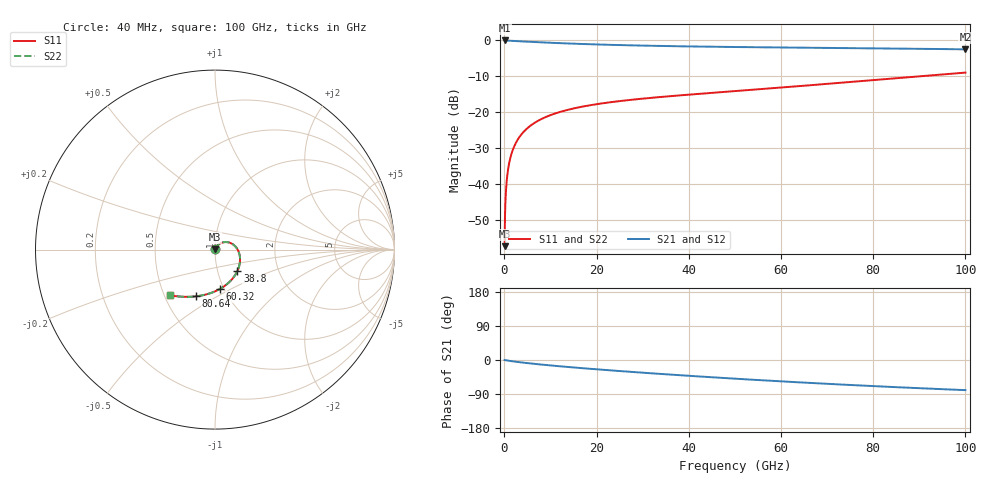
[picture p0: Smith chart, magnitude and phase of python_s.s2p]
! Created with skrf (http://scikit-rf.org).
# Hz S MA R 50.0
!freq magS11 angS11 magS21 angS21 magS12 angS12 magS22 angS22
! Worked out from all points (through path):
!   2500 points, 40 MHz to 100 GHz, reference 50 ohm
!   highest |S21| = 0.00 dB at 40 MHz (marker M1); lowest = -2.5 dB at 100 GHz (marker M2)
!   group delay of S21, straight-line fit = 2.09 ps
!   lowest |S11| = -57.4 dB at 40 MHz (marker M3), VSWR 1.00, Z = 50 + j0.129 ohm
!   |S11| at or under -10 dB: start of sweep to 90.12 GHz
!   |S22| runs from -57.4 to -9.0 dB; largest |S21 - S12| = 0
!   S11 on the Smith chart (normalised r, x): 40 MHz: 1.00, +0.00; 38.8 GHz: 1.24, -0.31; 60.32 GHz: 0.96, -0.44; 80.64 GHz: 0.71, -0.40; 100 GHz: 0.54, -0.31
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4e7  0.001347 73.4  0.9996 -0.1  0.9996 -0.1  0.001347 73.4
2.8e8  0.006926 69.0  0.9976 -0.7  0.9976 -0.7  0.006926 69.0
6e8  0.01277 65.5  0.9949 -1.4  0.9949 -1.4  0.01277 65.5
7.6e8  0.01537 64.1  0.9936 -1.7  0.9936 -1.7  0.01537 64.1
9.6e8  0.01841 62.5  0.992 -2.0  0.992 -2.0  0.01841 62.5
1.32e9  0.02345 60.0  0.989 -2.7  0.989 -2.7  0.02345 60.0
1.8e9  0.0295 57.0  0.9852 -3.5  0.9852 -3.5  0.0295 57.0
2.4e9  0.03631 53.8  0.9804 -4.5  0.9804 -4.5  0.03631 53.8
3.12e9  0.04363 50.2  0.9748 -5.6  0.9748 -5.6  0.04363 50.2
5.16e9  0.06101 41.6  0.9597 -8.4  0.9597 -8.4  0.06101 41.6
8e9  0.07991 31.4  0.9404 -12.0  0.9404 -12.0  0.07991 31.4
1.176e10  0.09921 19.6  0.9179 -16.3  0.9179 -16.3  0.09921 19.6
1.672e10  0.1186 5.9  0.8931 -21.4  0.8931 -21.4  0.1186 5.9
2.372e10  0.1393 -11.4  0.8657 -28.0  0.8657 -28.0  0.1393 -11.4
3.336e10  0.1615 -32.7  0.8388 -36.3  0.8388 -36.3  0.1615 -32.7
3.88e10  0.1728 -43.9  0.8274 -40.8  0.8274 -40.8  0.1728 -43.9
5.004e10  0.1965 -65.3  0.8096 -49.3  0.8096 -49.3  0.1965 -65.3
6.032e10  0.221 -82.9  0.7972 -56.5  0.7972 -56.5  0.221 -82.9
6.668e10  0.2381 -92.9  0.7904 -60.7  0.7904 -60.7  0.2381 -92.9
8.064e10  0.2818 -112.4  0.7756 -69.2  0.7756 -69.2  0.2818 -112.4
8.336e10  0.2913 -115.8  0.7726 -70.8  0.7726 -70.8  0.2913 -115.8
1e11  0.3559 -134.2  0.7513 -79.5  0.7513 -79.5  0.3559 -134.2
